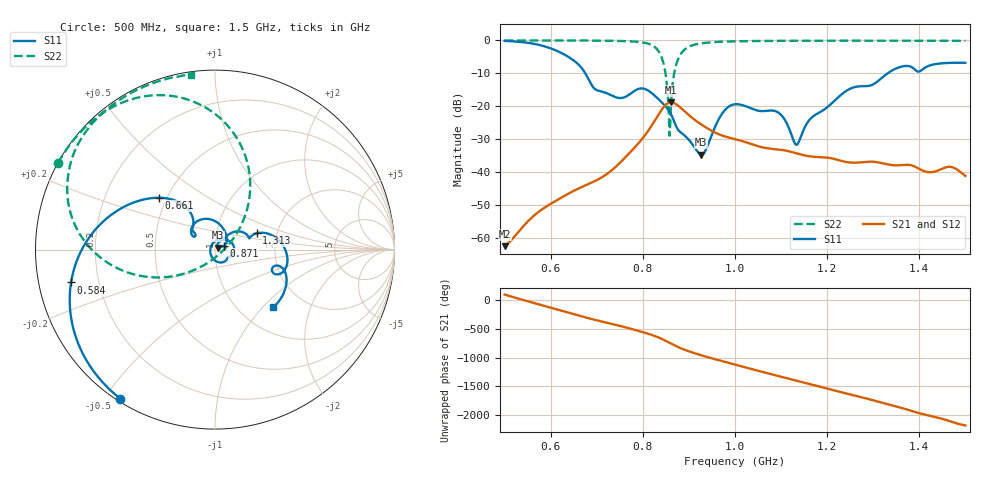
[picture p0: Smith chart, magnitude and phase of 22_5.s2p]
! TOUCHSTONE file generated by CST MICROWAVE STUDIO
! Date and time: Mon Oct 26 12:31:51 2020
! Project name: Scenario_1_Circular_Tissue_out_of_Line.cst
! Parameters = {dy1=18.161; L_HA=400; MT=2.54; Rad_Dielectric=30; Rad_Lower=7.3; Rad_Upper=30; a_HA=580; a_WG=246; b_HA=500; b_WG=121; c_HA=0; c_WG=187; d_feed=85; dx1=866; h_feed=15; h_lower=18; h_upper=40}
! Header version: 2018
! Port assignment regex: !\s*Touchstone port\s*([0-9]+)\s*=\s*(CST MWS port|CST DS port)\s*([0-9]+|Zmin|Zmax)\s*\(\"(.*)\"\)(\s*mode\s*([0-9]+))?.*
! Touchstone port assignment:
! Touchstone port 1 = CST MWS port 1 ("")
! Touchstone port 2 = CST MWS port 2 ("")
# GHz S DB R 50
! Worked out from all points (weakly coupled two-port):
!   1001 points, 500 MHz to 1.5 GHz, reference 50 ohm
!   highest |S21| = -18.85 dB at 861 MHz (marker M1); lowest = -62.6 dB at 500 MHz (marker M2)
!   lowest |S11| = -34.8 dB at 927 MHz (marker M3), VSWR 1.04, Z = 51.5 + j1.09 ohm
!   |S11| at or under -10 dB: 675.1 MHz to 1.331 GHz (656.2 MHz wide, 65.4 % of centre)
!   |S22| runs from -29.0 to 0.0 dB; largest |S21 - S12| = 4.4e-06
!   S11 on the Smith chart (normalised r, x): 500 MHz: 0.01, -0.55; 584 MHz: 0.10, -0.11; 661 MHz: 0.45, +0.32; 871 MHz: 1.10, +0.04; 1.313 GHz: 1.57, +0.30; 1.5 GHz: 1.41, -1.15
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0.5  -0.14 -122.4  -62.60 99.4  -62.60 99.4  -0.01 151.1
0.584  -1.70 -167.2  -51.14 -93.9  -51.14 -93.9  -0.02 145.3
0.661  -7.43 137.2  -45.01 92.0  -45.01 92.0  -0.04 138.9
0.667  -8.36 132.1  -44.62 78.7  -44.62 78.7  -0.04 138.4
0.701  -15.16 135.7  -42.43 8.2  -42.43 8.2  -0.07 134.7
0.78  -15.51 142.8  -32.91 -150.6  -32.91 -150.6  -0.33 120.4
0.815  -15.57 95.5  -26.80 127.2  -26.80 127.2  -1.15 103.7
0.834  -17.86 70.1  -22.55 71.7  -22.55 71.7  -3.27 83.5
0.848  -19.84 51.7  -19.81 19.4  -19.81 19.4  -9.10 56.7
0.856  -21.24 39.8  -18.99 -14.2  -18.99 -14.2  -21.39 21.9
0.861  -22.41 31.9  -18.85 -35.4  -18.85 -35.4  -19.84 -124.3
0.871  -25.73 22.8  -19.31 -75.8  -19.31 -75.8  -8.05 -157.2
0.893  -29.24 20.9  -21.86 -150.1  -21.86 -150.1  -2.51 174.4
0.927  -34.76 35.2  -25.58 120.4  -25.58 120.4  -0.88 155.5
0.972  -22.28 45.2  -28.93 19.7  -28.93 19.7  -0.39 144.6
1  -19.42 6.0  -30.03 -40.8  -30.03 -40.8  -0.28 140.3
1.093  -21.86 -62.4  -33.16 123.8  -33.16 123.8  -0.13 130.4
1.133  -31.75 172.9  -34.34 37.8  -34.34 37.8  -0.11 126.9
1.167  -23.40 62.8  -35.34 -30.3  -35.34 -30.3  -0.10 124.2
1.313  -12.07 21.4  -37.16 25.5  -37.16 25.5  -0.09 113.1
1.334  -9.74 14.3  -37.79 -19.3  -37.79 -19.3  -0.09 111.5
1.5  -6.83 -44.8  -41.22 -22.3  -41.22 -22.3  -0.13 97.9
